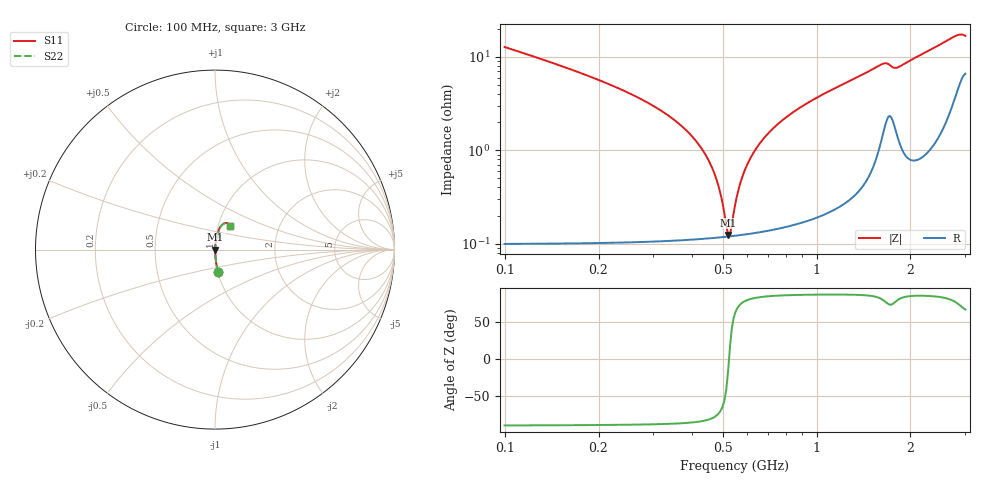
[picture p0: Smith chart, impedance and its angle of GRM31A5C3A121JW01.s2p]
!Murata Part Number: GRM31A5C3A121JW01
!These Parameters are Measured in Series Mode Connection
!Data Generated on Mar 30, 2021
!  o--ll--o
!Port1  Port2
!  o------o
!Operation Temp=25[degC], DC Bias Voltage=0[V]
!Freq. Start=100[MHz] Stop=3[GHz] 401[Steps]
# Hz S RI R 50
!Freq.(Hz) S11(Real) S11(Imag) S21(Real) S21(Imag) S12(Real) S12(Imag) S22(Real) S22(Imag)
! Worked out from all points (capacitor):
!   401 points, 100 MHz to 3 GHz, reference 50 ohm
!   read as one part in series: C = 120 pF near 114.5 MHz
!   lowest |Z| = 124 mohm at 520.5 MHz (marker M1)
!   series resonance near 524.1 MHz, so ESL is about 770 pH
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1e8  0.017 -0.1255  0.983 0.1255  0.983 0.1255  0.017 -0.1255
1.7975e8  0.00522 -0.0648  0.9948 0.0648  0.9948 0.0648  0.00522 -0.0648
3.465e8  0.00154 -0.0216  0.9985 0.0216  0.9985 0.0216  0.00154 -0.0216
4.1175e8  0.00126 -0.0124  0.9987 0.0124  0.9987 0.0124  0.00126 -0.0124
4.6975e8  0.00118 -0.00558  0.9988 0.00558  0.9988 0.00558  0.00118 -0.00558
4.915e8  0.00118 -0.00327  0.9988 0.00327  0.9988 0.00327  0.00118 -0.00327
5.1325e8  0.00118 -0.00106  0.9988 0.00106  0.9988 0.00106  0.00118 -0.00106
5.205e8  0.00119 -0.000348  0.9988 0.000348  0.9988 0.000348  0.00119 -0.000348
5.35e8  0.0012 0.00105  0.9988 -0.00105  0.9988 -0.00105  0.0012 0.00105
5.64e8  0.00124 0.00375  0.9988 -0.00375  0.9988 -0.00375  0.00124 0.00375
5.8575e8  0.00128 0.0057  0.9987 -0.0057  0.9987 -0.0057  0.00128 0.0057
6.51e8  0.00144 0.0112  0.9986 -0.0112  0.9986 -0.0112  0.00144 0.0112
7.4525e8  0.00177 0.0185  0.9982 -0.0185  0.9982 -0.0185  0.00177 0.0185
8.83e8  0.00245 0.0283  0.9975 -0.0283  0.9975 -0.0283  0.00245 0.0283
1.0715e9  0.00377 0.041  0.9962 -0.041  0.9962 -0.041  0.00377 0.041
1.55e9  0.0137 0.0753  0.9863 -0.0753  0.9863 -0.0753  0.0137 0.0753
1.65875e9  0.0246 0.0801  0.9754 -0.0801  0.9754 -0.0801  0.0246 0.0801
1.80375e9  0.0204 0.0724  0.9796 -0.0724  0.9796 -0.0724  0.0204 0.0724
2.03575e9  0.0164 0.0925  0.9836 -0.0925  0.9836 -0.0925  0.0164 0.0925
2.5215e9  0.0337 0.1316  0.9663 -0.1316  0.9663 -0.1316  0.0337 0.1316
2.81875e9  0.0639 0.1484  0.9361 -0.1484  0.9361 -0.1484  0.0639 0.1484
3e9  0.0813 0.1333  0.9187 -0.1333  0.9187 -0.1333  0.0813 0.1333
